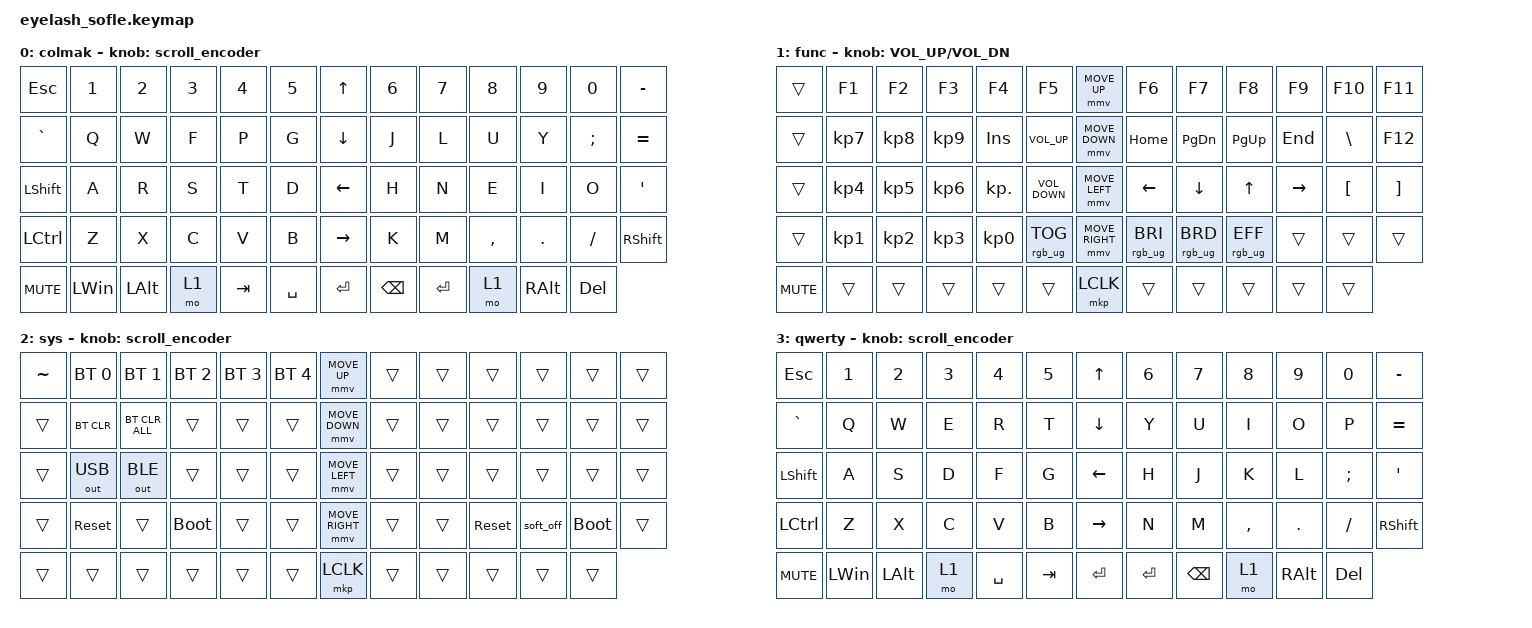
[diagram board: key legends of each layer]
#define ZMK_POINTING_DEFAULT_MOVE_VAL 1200  // 600
#define ZMK_POINTING_DEFAULT_SCRL_VAL 25   // 10

#include <input/processors.dtsi>
#include <zephyr/dt-bindings/input/input-event-codes.h>
#include <behaviors.dtsi>
#include <dt-bindings/zmk/bt.h>
#include <dt-bindings/zmk/keys.h>
#include <dt-bindings/zmk/outputs.h>
#include <dt-bindings/zmk/pointing.h>
#include <dt-bindings/zmk/rgb.h>

&mmv_input_listener { input-processors = <&zip_xy_scaler 2 1>; };

&msc_input_listener { input-processors = <&zip_scroll_scaler 2 1>; };

&msc {
    acceleration-exponent = <1>;      // 0
    time-to-max-speed-ms = <100>;       // 300
    delay-ms = <0>;                   // 0
};

&mmv {
    time-to-max-speed-ms = <500>;
    acceleration-exponent = <1>;
    trigger-period-ms = <16>;
};

&soft_off { hold-time-ms = <2000>; };

/ {
    scroll_encoder: scroll_encoder {
        compatible = "zmk,behavior-sensor-rotate";
        #sensor-binding-cells = <0>;
        bindings = <&msc SCRL_DOWN>, <&msc SCRL_UP>;

        tap-ms = <100>;
    };

    behaviors {
    };

    combos {
        compatible = "zmk,combos";

        colemak {
            bindings = <&to 0>;
            key-positions = <13 26 39>;
        };

        qwerty {
            bindings = <&to 3>;
            key-positions = <14 27 40>;
        };

        sys {
            bindings = <&to 2>;
            key-positions = <15 28 41>;
        };
    };

    macros {
        SHIFT_MCLK: SHIFT_MCLK {
            compatible = "zmk,behavior-macro";
            #binding-cells = <0>;
            bindings =
                <&macro_press>,
                <&kp LEFT_SHIFT>,
                <&macro_press>,
                <&mkp MB3>,
                <&macro_pause_for_release>,
                <&macro_release>,
                <&kp LEFT_SHIFT &mkp MB3>;

            label = "SHIFT_MCLK";
        };
    };

    keymap {
        compatible = "zmk,keymap";

        colmak {
            bindings = <
&kp ESC         &kp N1        &kp N2        &kp N3  &kp N4   &kp N5       &kp UP_ARROW     &kp N6         &kp N7     &kp N8     &kp N9         &kp N0         &kp MINUS
&kp GRAVE       &kp Q         &kp W         &kp F   &kp P    &kp G        &kp DOWN_ARROW   &kp J          &kp L      &kp U      &kp Y          &kp SEMICOLON  &kp EQUAL
&kp LEFT_SHIFT  &kp A         &kp R         &kp S   &kp T    &kp D        &kp LEFT_ARROW   &kp H          &kp N      &kp E      &kp I          &kp O          &kp APOS
&kp LCTRL       &kp Z         &kp X         &kp C   &kp V    &kp B        &kp RIGHT_ARROW  &kp K          &kp M      &kp COMMA  &kp DOT        &kp FSLH       &kp RIGHT_SHIFT
&kp C_MUTE      &kp LEFT_WIN  &kp LEFT_ALT  &mo 1   &kp TAB  &kp SPACE    &kp ENTER        &kp BACKSPACE  &kp ENTER  &mo 1      &kp RIGHT_ALT  &kp DELETE
            >;

            sensor-bindings = <&scroll_encoder>;
            display-name = "colmak";
        };

        func {
            bindings = <
&trans      &kp F1           &kp F2           &kp F3           &kp F4           &kp F5               &mmv MOVE_UP     &kp F6           &kp F7           &kp F8           &kp F9     &kp F10           &kp F11
&trans      &kp KP_NUMBER_7  &kp KP_NUMBER_8  &kp KP_NUMBER_9  &kp INSERT       &kp C_VOLUME_UP      &mmv MOVE_DOWN   &kp HOME         &kp PAGE_DOWN    &kp PG_UP        &kp END    &kp BACKSLASH     &kp F12
&trans      &kp KP_NUMBER_4  &kp KP_NUMBER_5  &kp KP_NUMBER_6  &kp KP_DOT       &kp C_VOLUME_DOWN    &mmv MOVE_LEFT   &kp LEFT         &kp DOWN         &kp UP_ARROW     &kp RIGHT  &kp LEFT_BRACKET  &kp RIGHT_BRACKET
&trans      &kp KP_NUMBER_1  &kp KP_NUMBER_2  &kp KP_NUMBER_3  &kp KP_NUMBER_0  &rgb_ug RGB_TOG      &mmv MOVE_RIGHT  &rgb_ug RGB_BRI  &rgb_ug RGB_BRD  &rgb_ug RGB_EFF  &trans     &trans            &trans
&kp C_MUTE  &trans           &trans           &trans           &trans           &trans               &mkp LCLK        &trans           &trans           &trans           &trans     &trans
            >;

            sensor-bindings = <&inc_dec_kp C_VOLUME_UP C_VOL_DN>;
            display-name = "func";
        };

        sys {
            bindings = <
&kp TILDE  &bt BT_SEL 0  &bt BT_SEL 1    &bt BT_SEL 2  &bt BT_SEL 3  &bt BT_SEL 4    &mmv MOVE_UP     &trans  &trans  &trans      &trans     &trans       &trans
&trans     &bt BT_CLR    &bt BT_CLR_ALL  &trans        &trans        &trans          &mmv MOVE_DOWN   &trans  &trans  &trans      &trans     &trans       &trans
&trans     &out OUT_USB  &out OUT_BLE    &trans        &trans        &trans          &mmv MOVE_LEFT   &trans  &trans  &trans      &trans     &trans       &trans
&trans     &sys_reset    &trans          &bootloader   &trans        &trans          &mmv MOVE_RIGHT  &trans  &trans  &sys_reset  &soft_off  &bootloader  &trans
&trans     &trans        &trans          &trans        &trans        &trans          &mkp LCLK        &trans  &trans  &trans      &trans     &trans
            >;

            display-name = "sys";
            sensor-bindings = <&scroll_encoder>;
        };

        qwerty {
            display-name = "qwerty";
            bindings = <
&kp ESC         &kp N1        &kp N2        &kp N3  &kp N4     &kp N5     &kp UP_ARROW     &kp N6     &kp N7         &kp N8     &kp N9         &kp N0         &kp MINUS
&kp GRAVE       &kp Q         &kp W         &kp E   &kp R      &kp T      &kp DOWN_ARROW   &kp Y      &kp U          &kp I      &kp O          &kp P          &kp EQUAL
&kp LEFT_SHIFT  &kp A         &kp S         &kp D   &kp F      &kp G      &kp LEFT_ARROW   &kp H      &kp J          &kp K      &kp L          &kp SEMICOLON  &kp APOS
&kp LCTRL       &kp Z         &kp X         &kp C   &kp V      &kp B      &kp RIGHT_ARROW  &kp N      &kp M          &kp COMMA  &kp DOT        &kp FSLH       &kp RIGHT_SHIFT
&kp C_MUTE      &kp LEFT_WIN  &kp LEFT_ALT  &mo 1   &kp SPACE  &kp TAB    &kp ENTER        &kp ENTER  &kp BACKSPACE  &mo 1      &kp RIGHT_ALT  &kp DELETE
            >;

            sensor-bindings = <&scroll_encoder>;
        };
    };
};
